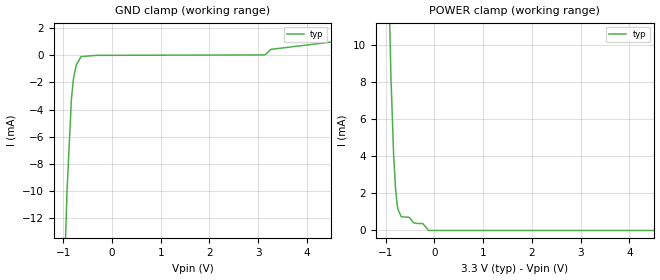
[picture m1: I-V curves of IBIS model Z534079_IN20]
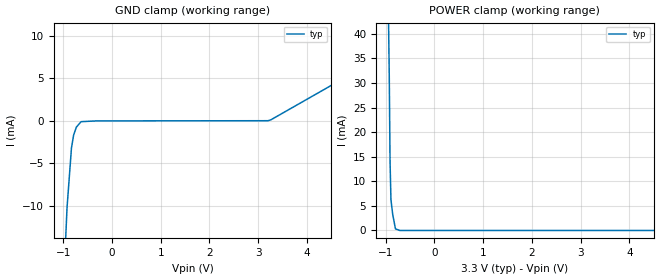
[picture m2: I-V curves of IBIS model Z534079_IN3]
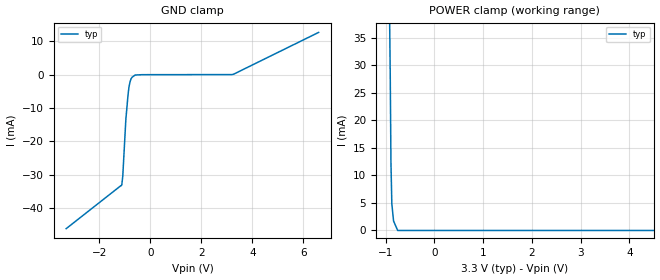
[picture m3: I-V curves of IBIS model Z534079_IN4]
| YOU ARE ONLY AUTHORIZED TO USE THIS SOFTWARE
| ACCORDING TO LICENSOR'S LICENSE RESTRICTIONS.
[IBIS Ver] 3.1
[File Name] mc100lvel32d.ibs
[File Rev] 0.1
[Source] Derived from mc100lvel29dw.ibs Measured and created by ICX
Technology
[Date] Friday 3/28/2002
[Copyright]
| (C) COPYRIGHT 1993-2000
| MENTOR GRAPHICS CORPORATION
| ICX STANDARD LIBRARY, ICX PROJECT MODELING,
| ICX CUSTOM MODELING, ICX VENDOR MODEL
| ALL RIGHTS RESERVED.
| THE FOLLOWING ARE TRADEMARKS OR SERVICE MARKS OF
| MENTOR GRAPHICS CORPORATION:ICX (R), ICX STANDARD
| LIBRARY(R), ICX PROJECT MODELING(R), ICX CUSTOM
| MODELING(R), qualityIBIS(TM), MODELVIEWER(TM),
| AND MODELEDITOR(TM)
| ALL COPIES OF SOFTWARE, INCLUDING BUT NOT LIMITED TO
| ANY MODIFICATIONS, ENHANCEMENTS OR DERIVATIVE WORKS,
| MUST CONTAIN ALL MENTOR GRAPHICS CORPORATION'S
| NOTICES AND LEGENDS, INCLUDING THOSE EMBEDDED IN
| SOFTWARE AND THOSE AFFIXED TO SOFTWARE MEDIUM
| AND CONTAINER, AS RECEIVED FROM MENTOR GRAPHICS
| CORPORATION.
|  ZAP Model Builder 2.7
[Component] MC100LVEL32D
[Manufacturer] OnSemiconductor
[Package]
| variable   typ   min   max
R_pkg  .152ohms NA NA
L_pkg  2.714nH NA NA
C_pkg  .364pF NA NA
[Pin] signal_name  model_name  R_pin  L_pin C_pin
1 Reset Z534079_IN20 .15  2.504n .354p
2 CLK Z534079_IN3 .15  2.504n .354p
3 _CLK Z534079_IN4 .15  2.504n .354p
4 VBB NC .154 2.924n .374p
5 VEE POWER .154 2.924n .374p
6 _Q Z534079_OUT17 .15  2.504n .354p
7 Q Z534079_OUT18 .15  2.504n .354p
8 VCC POWER .154 2.924n .374p
[Diff Pin] inv_pin vdiff tdelay_typ tdelay_min tdelay_max
2 3 150mv NA NA NA
6 7 NA NA NA NA
| Models and submodels in the file (5): Z534079_IN20 (Input_ECL), Z534079_IN3 (Input_ECL), Z534079_IN4 (Input_ECL), Z534079_OUT17 (Output_ECL), Z534079_OUT18 (Output_ECL)
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| (C) COPYRIGHT 1993-2000
| MENTOR GRAPHICS CORPORATION
| ICX STANDARD LIBRARY, ICX PROJECT MODELING,
| ICX CUSTOM MODELING, ICX VENDOR MODEL
| ALL RIGHTS RESERVED.
| THE FOLLOWING ARE TRADEMARKS OR SERVICE MARKS OF
| MENTOR GRAPHICS CORPORATION:ICX (R), ICX STANDARD
| LIBRARY(R), ICX PROJECT MODELING(R), ICX CUSTOM
| MODELING(R), qualityIBIS(TM), MODELVIEWER(TM),
| AND MODELEDITOR(TM)
| ALL COPIES OF SOFTWARE, INCLUDING BUT NOT LIMITED TO
| ANY MODIFICATIONS, ENHANCEMENTS OR DERIVATIVE WORKS,
| MUST CONTAIN ALL MENTOR GRAPHICS CORPORATION'S
| NOTICES AND LEGENDS, INCLUDING THOSE EMBEDDED IN
| SOFTWARE AND THOSE AFFIXED TO SOFTWARE MEDIUM
| AND CONTAINER, AS RECEIVED FROM MENTOR GRAPHICS
| CORPORATION.
| Model Application Version 1.89 2/18/99.
[Model] Z534079_IN20
Model_type Input_ECL
Vinl = 1.825V
Vinh = 2.135V
C_comp .500pF NA NA
| variable typ   min   max
[Voltage Range] 3.300V NA NA
[GND Clamp Reference] 0.000V NA NA
[POWER Clamp Reference] 3.300V NA NA
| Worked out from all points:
|   GND clamp passes 1 mA (typ) near -0.75 V on its own axis
|   POWER clamp passes 1 mA (typ) near -0.73 V on its own axis
[GND Clamp]
-3.3V     -395mA     NA         NA
-1.014V   -20.68mA   NA         NA
-923mV    -9.971mA   NA         NA
-832mV    -3.192mA   NA         NA
-790mV    -1.695mA   NA         NA
-732mV    -719.2uA   NA         NA
-635mV    -103.7uA   NA         NA
-317.5mV  -10.84uA   NA         NA
3.121V    17.68uA    NA         NA
3.16V     75.89uA    NA         NA
3.263V    429.9uA    NA         NA
6.6V      1.879mA    NA         NA
[POWER Clamp]
-3.3V     2.056A     NA         NA
-1.004V   20.87mA    NA         NA
-893.9mV  8.281mA    NA         NA
-839.7mV  4.127mA    NA         NA
-801.5mV  2.327mA    NA         NA
-765.1mV  1.367mA    NA         NA
-745.4mV  1.111mA    NA         NA
-682.2mV  735.8uA    NA         NA
-423.8mV  406uA      NA         NA
-240.5mV  372.5uA    NA         NA
-120.3mV  0A         NA         NA
6.6V      0A         NA         NA
| (C) COPYRIGHT 1993-2000
| MENTOR GRAPHICS CORPORATION
| ICX STANDARD LIBRARY, ICX PROJECT MODELING,
| ICX CUSTOM MODELING, ICX VENDOR MODEL
| ALL RIGHTS RESERVED.
| THE FOLLOWING ARE TRADEMARKS OR SERVICE MARKS OF
| MENTOR GRAPHICS CORPORATION:ICX (R), ICX STANDARD
| LIBRARY(R), ICX PROJECT MODELING(R), ICX CUSTOM
| MODELING(R), qualityIBIS(TM), MODELVIEWER(TM),
| AND MODELEDITOR(TM)
| ALL COPIES OF SOFTWARE, INCLUDING BUT NOT LIMITED TO
| ANY MODIFICATIONS, ENHANCEMENTS OR DERIVATIVE WORKS,
| MUST CONTAIN ALL MENTOR GRAPHICS CORPORATION'S
| NOTICES AND LEGENDS, INCLUDING THOSE EMBEDDED IN
| SOFTWARE AND THOSE AFFIXED TO SOFTWARE MEDIUM
| AND CONTAINER, AS RECEIVED FROM MENTOR GRAPHICS
| CORPORATION.
| Model Application Version 1.89 2/18/99.
[Model] Z534079_IN3
Model_type Input_ECL
Vinl = 1.825V
Vinh = 2.135V
C_comp .500pF NA NA
| variable typ   min   max
[Voltage Range] 3.300V NA NA
[GND Clamp Reference] 0.000V NA NA
[POWER Clamp Reference] 3.300V NA NA
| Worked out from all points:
|   GND clamp passes 1 mA (typ) near -0.75 V on its own axis
|   POWER clamp passes 1 mA (typ) near -0.81 V on its own axis
[GND Clamp]
-3.3V     -425.6mA   NA         NA
-1.03V    -24.25mA   NA         NA
-923mV    -10.26mA   NA         NA
-832mV    -3.202mA   NA         NA
-789mV    -1.715mA   NA         NA
-732mV    -749uA     NA         NA
-634mV    -100.5uA   NA         NA
-317mV    -8.095uA   NA         NA
3.204V    12.21uA    NA         NA
3.263V    125.3uA    NA         NA
6.6V      11.05mA    NA         NA
[POWER Clamp]
-3.3V     1.844A     NA         NA
-928.3mV  31.27mA    NA         NA
-912.2mV  14.03mA    NA         NA
-893.8mV  6.291mA    NA         NA
-858.7mV  3.32mA     NA         NA
-801.3mV  323.5uA    NA         NA
-712.3mV  0A         NA         NA
6.6V      0A         NA         NA
| (C) COPYRIGHT 1993-2000
| MENTOR GRAPHICS CORPORATION
| ICX STANDARD LIBRARY, ICX PROJECT MODELING,
| ICX CUSTOM MODELING, ICX VENDOR MODEL
| ALL RIGHTS RESERVED.
| THE FOLLOWING ARE TRADEMARKS OR SERVICE MARKS OF
| MENTOR GRAPHICS CORPORATION:ICX (R), ICX STANDARD
| LIBRARY(R), ICX PROJECT MODELING(R), ICX CUSTOM
| MODELING(R), qualityIBIS(TM), MODELVIEWER(TM),
| AND MODELEDITOR(TM)
| ALL COPIES OF SOFTWARE, INCLUDING BUT NOT LIMITED TO
| ANY MODIFICATIONS, ENHANCEMENTS OR DERIVATIVE WORKS,
| MUST CONTAIN ALL MENTOR GRAPHICS CORPORATION'S
| NOTICES AND LEGENDS, INCLUDING THOSE EMBEDDED IN
| SOFTWARE AND THOSE AFFIXED TO SOFTWARE MEDIUM
| AND CONTAINER, AS RECEIVED FROM MENTOR GRAPHICS
| CORPORATION.
| Model Application Version 1.89 2/18/99.
[Model] Z534079_IN4
Model_type Input_ECL
Vinl = 1.825V
Vinh = 2.135V
C_comp .500pF NA NA
| variable typ   min   max
[Voltage Range] 3.300V NA NA
[GND Clamp Reference] 0.000V NA NA
[POWER Clamp Reference] 3.300V NA NA
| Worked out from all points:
|   GND clamp passes 1 mA (typ) near -0.73 V on its own axis
|   POWER clamp passes 1 mA (typ) near -0.80 V on its own axis
[GND Clamp]
-3.3V     -46.13mA   NA         NA
-1.118V   -32.99mA   NA         NA
-1.08V    -30.44mA   NA         NA
-958mV    -13.27mA   NA         NA
-869mV    -5.719mA   NA         NA
-832mV    -3.497mA   NA         NA
-789mV    -2.006mA   NA         NA
-712mV    -758.4uA   NA         NA
-590mV    -107.9uA   NA         NA
-295mV    -10.6uA    NA         NA
3.204V    12.78uA    NA         NA
6.6V      12.65mA    NA         NA
[POWER Clamp]
-3.3V     845mA      NA         NA
-1.072V   159.6mA    NA         NA
-908mV    27.91mA    NA         NA
-893.6mV  12.3mA     NA         NA
-875.5mV  4.828mA    NA         NA
-839.8mV  1.712mA    NA         NA
-755.8mV  0A         NA         NA
6.6V      0A         NA         NA
